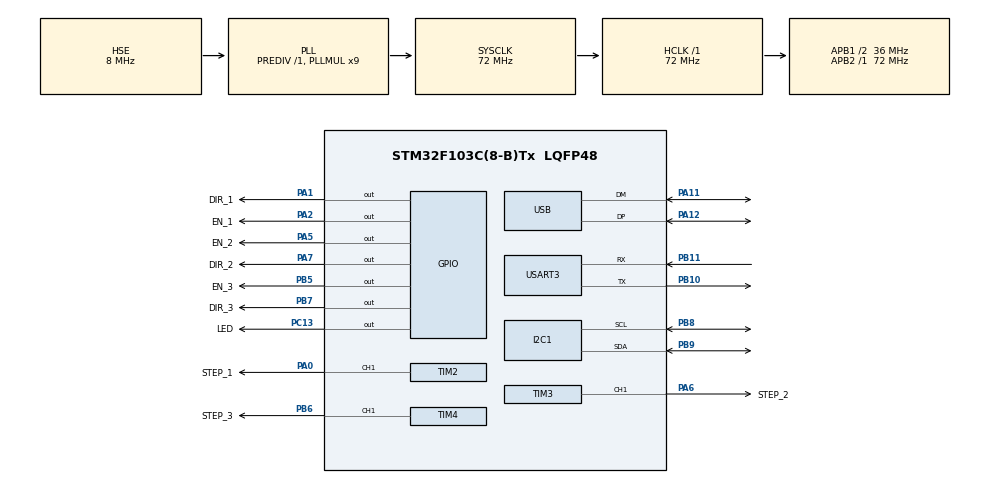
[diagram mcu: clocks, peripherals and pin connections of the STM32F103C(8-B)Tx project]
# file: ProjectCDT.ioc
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IWDG.Prescaler=IWDG_PRESCALER_64
IWDG.Reload=1249
Mcu.Family=STM32F1
Mcu.Name=STM32F103C(8-B)Tx
Mcu.Package=LQFP48
NVIC.PriorityGroup=NVIC_PRIORITYGROUP_4
NVIC.TIM2_IRQn=true\:0\:0\:false\:false\:true\:true\:true\:true
NVIC.TIM3_IRQn=true\:0\:0\:false\:false\:true\:true\:true\:true
NVIC.TIM4_IRQn=true\:0\:0\:false\:false\:true\:true\:true\:true
NVIC.USART3_IRQn=true\:0\:0\:false\:false\:true\:true\:true\:true
NVIC.USB_LP_CAN1_RX0_IRQn=true\:0\:0\:false\:false\:true\:false\:true\:true
PA0-WKUP.GPIO_Label=STEP_1
PA0-WKUP.Signal=S_TIM2_CH1_ETR
PA1.GPIO_Label=DIR_1
PA1.GPIO_PuPd=GPIO_NOPULL
PA1.Signal=GPIO_Output
PA11.Mode=Device
PA11.Signal=USB_DM
PA12.Mode=Device
PA12.Signal=USB_DP
PA13.Mode=Serial_Wire
PA13.Signal=SYS_JTMS-SWDIO
PA14.Mode=Serial_Wire
PA14.Signal=SYS_JTCK-SWCLK
PA2.GPIO_Label=EN_1
PA2.PinState=GPIO_PIN_SET
PA2.Signal=GPIO_Output
PA5.GPIO_Label=EN_2
PA5.PinState=GPIO_PIN_SET
PA5.Signal=GPIO_Output
PA6.GPIO_Label=STEP_2
PA6.Signal=S_TIM3_CH1
PA7.GPIO_Label=DIR_2
PA7.Signal=GPIO_Output
PB10.Mode=Asynchronous
PB10.Signal=USART3_TX
PB11.Mode=Asynchronous
PB11.Signal=USART3_RX
PB5.GPIO_Label=EN_3
PB5.PinState=GPIO_PIN_SET
PB5.Signal=GPIO_Output
PB6.GPIO_Label=STEP_3
PB6.Signal=S_TIM4_CH1
PB7.GPIO_Label=DIR_3
PB7.Signal=GPIO_Output
PB8.Mode=I2C
PB8.Signal=I2C1_SCL
PB9.Mode=I2C
PB9.Signal=I2C1_SDA
PC13-TAMPER-RTC.GPIO_Label=LED
PC13-TAMPER-RTC.Signal=GPIO_Output
PD0-OSC_IN.Mode=HSE-External-Oscillator
PD0-OSC_IN.Signal=RCC_OSC_IN
PD1-OSC_OUT.Mode=HSE-External-Oscillator
PD1-OSC_OUT.Signal=RCC_OSC_OUT
ProjectManager.HeapSize=0x200
ProjectManager.StackSize=0x400
ProjectManager.TargetToolchain=STM32CubeIDE
RCC.AHBFreq_Value=72000000
RCC.APB1CLKDivider=RCC_HCLK_DIV2
RCC.APB1Freq_Value=36000000
RCC.APB1TimFreq_Value=72000000
RCC.APB2Freq_Value=72000000
RCC.APB2TimFreq_Value=72000000
RCC.HCLKFreq_Value=72000000
RCC.PLLMUL=RCC_PLL_MUL9
RCC.SYSCLKFreq_VALUE=72000000
RCC.SYSCLKSource=RCC_SYSCLKSOURCE_PLLCLK
RCC.USBFreq_Value=48000000
RCC.USBPrescaler=RCC_USBCLKSOURCE_PLL_DIV1_5
SH.S_TIM2_CH1_ETR.0=TIM2_CH1,PWM Generation1 CH1
SH.S_TIM3_CH1.0=TIM3_CH1,PWM Generation1 CH1
SH.S_TIM4_CH1.0=TIM4_CH1,PWM Generation1 CH1
TIM2.Channel-PWM\ Generation1\ CH1=TIM_CHANNEL_1
TIM2.Period=999
TIM2.Prescaler=71
TIM2.Pulse-PWM\ Generation1\ CH1=500
TIM3.Channel-PWM\ Generation1\ CH1=TIM_CHANNEL_1
TIM3.Period=999
TIM3.Prescaler=71
TIM3.Pulse-PWM\ Generation1\ CH1=500
TIM4.Channel-PWM\ Generation1\ CH1=TIM_CHANNEL_1
TIM4.Period=999
TIM4.Prescaler=71
TIM4.Pulse-PWM\ Generation1\ CH1=500
USART3.VirtualMode=VM_ASYNC
USB_DEVICE.APP_RX_DATA_SIZE=128
USB_DEVICE.APP_TX_DATA_SIZE=128
USB_DEVICE.CLASS_NAME_FS=CDC
USB_DEVICE.VirtualMode=Cdc
USB_DEVICE.VirtualModeFS=Cdc_FS
VP_IWDG_VS_IWDG.Mode=IWDG_Activate
VP_TIM2_VS_ClockSourceINT.Mode=Internal
VP_TIM3_VS_ClockSourceINT.Mode=Internal
VP_TIM4_VS_ClockSourceINT.Mode=Internal
VP_USB_DEVICE_VS_USB_DEVICE_CDC_FS.Mode=CDC_FS
board=custom

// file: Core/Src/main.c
/* USER CODE BEGIN Header */
/**
  ******************************************************************************
  * @file           : main.c
  * @brief          : Main program body
  ******************************************************************************
  * @attention
  *
  * Copyright (c) 2026 STMicroelectronics.
  * All rights reserved.
  *
  * This software is licensed under terms that can be found in the LICENSE file
  * in the root directory of this software component.
  * If no LICENSE file comes with this software, it is provided AS-IS.
  *
  ******************************************************************************
  */
/* USER CODE END Header */
#include "main.h"
#include "i2c.h"
#include "iwdg.h"
#include "tim.h"
#include "usart.h"
#include "usb_device.h"
#include "gpio.h"

/* USER CODE BEGIN Includes */
#include "my_app.h"

/* USER CODE END Includes */

void SystemClock_Config(void);

/* USER CODE BEGIN 0 */
static void USB_ForceReEnumeration(void)
{
  GPIO_InitTypeDef GPIO_InitStruct = {0};

  __HAL_RCC_GPIOA_CLK_ENABLE();

  GPIO_InitStruct.Pin = GPIO_PIN_12;
  GPIO_InitStruct.Mode = GPIO_MODE_OUTPUT_PP;
  GPIO_InitStruct.Pull = GPIO_NOPULL;
  GPIO_InitStruct.Speed = GPIO_SPEED_FREQ_LOW;
  HAL_GPIO_Init(GPIOA, &GPIO_InitStruct);

  HAL_GPIO_WritePin(GPIOA, GPIO_PIN_12, GPIO_PIN_RESET);
  HAL_Delay(30);
  HAL_GPIO_DeInit(GPIOA, GPIO_PIN_12);
}

/* USER CODE END 0 */

int main(void)
{

  /* MCU Configuration--------------------------------------------------------*/

  /* Reset of all peripherals, Initializes the Flash interface and the Systick. */
  HAL_Init();

  /* Configure the system clock */
  SystemClock_Config();

  /* Initialize all configured peripherals */
  MX_GPIO_Init();
  USB_ForceReEnumeration();
  MX_USB_DEVICE_Init();
  MX_USART3_UART_Init();
  MX_TIM2_Init();
  MX_TIM3_Init();
  MX_TIM4_Init();
  MX_I2C1_Init();
  MX_IWDG_Init();
  /* USER CODE BEGIN 2 */
  HAL_GPIO_WritePin(GPIOC, GPIO_PIN_13, GPIO_PIN_RESET);
  my_app_init();

  /* USER CODE END 2 */

  /* Infinite loop */
  while (1)
  {

    /* USER CODE BEGIN 3 */
    HAL_IWDG_Refresh(&hiwdg);
    my_app_process();
  }
  /* USER CODE END 3 */
}

void SystemClock_Config(void)
{
  RCC_OscInitTypeDef RCC_OscInitStruct = {0};
  RCC_ClkInitTypeDef RCC_ClkInitStruct = {0};
  RCC_PeriphCLKInitTypeDef PeriphClkInit = {0};

  /** Initializes the RCC Oscillators according to the specified parameters
  * in the RCC_OscInitTypeDef structure.
  */
  RCC_OscInitStruct.OscillatorType = RCC_OSCILLATORTYPE_LSI|RCC_OSCILLATORTYPE_HSE;
  RCC_OscInitStruct.HSEState = RCC_HSE_ON;
  RCC_OscInitStruct.HSEPredivValue = RCC_HSE_PREDIV_DIV1;
  RCC_OscInitStruct.HSIState = RCC_HSI_ON;
  RCC_OscInitStruct.LSIState = RCC_LSI_ON;
  RCC_OscInitStruct.PLL.PLLState = RCC_PLL_ON;
  RCC_OscInitStruct.PLL.PLLSource = RCC_PLLSOURCE_HSE;
  RCC_OscInitStruct.PLL.PLLMUL = RCC_PLL_MUL9;
  if (HAL_RCC_OscConfig(&RCC_OscInitStruct) != HAL_OK)
  {
    Error_Handler();
  }

  /** Initializes the CPU, AHB and APB buses clocks
  */
  RCC_ClkInitStruct.ClockType = RCC_CLOCKTYPE_HCLK|RCC_CLOCKTYPE_SYSCLK
                              |RCC_CLOCKTYPE_PCLK1|RCC_CLOCKTYPE_PCLK2;
  RCC_ClkInitStruct.SYSCLKSource = RCC_SYSCLKSOURCE_PLLCLK;
  RCC_ClkInitStruct.AHBCLKDivider = RCC_SYSCLK_DIV1;
  RCC_ClkInitStruct.APB1CLKDivider = RCC_HCLK_DIV2;
  RCC_ClkInitStruct.APB2CLKDivider = RCC_HCLK_DIV1;

  if (HAL_RCC_ClockConfig(&RCC_ClkInitStruct, FLASH_LATENCY_2) != HAL_OK)
  {
    Error_Handler();
  }
  PeriphClkInit.PeriphClockSelection = RCC_PERIPHCLK_USB;
  PeriphClkInit.UsbClockSelection = RCC_USBCLKSOURCE_PLL_DIV1_5;
  if (HAL_RCCEx_PeriphCLKConfig(&PeriphClkInit) != HAL_OK)
  {
    Error_Handler();
  }
}

void Error_Handler(void)
{
  __disable_irq();
  while (1)
  {
  }
}
